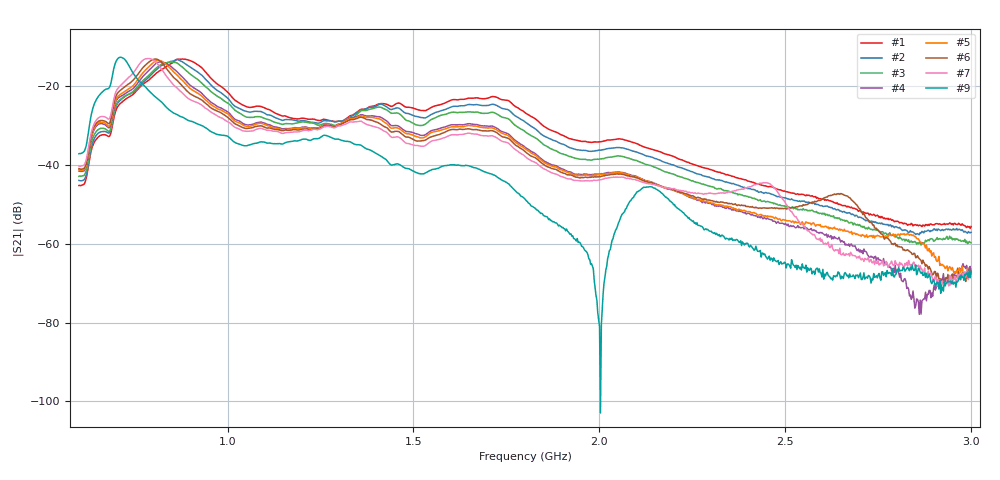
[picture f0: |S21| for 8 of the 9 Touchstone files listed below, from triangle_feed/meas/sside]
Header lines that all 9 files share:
#  HZ  S  RI  R  50.00
! Rohde & Schwarz ZVB8 2Ports - Version 2.81 - 1145.1010k08 SN: 100113
! Measurements: S11 S21 S12 S22
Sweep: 600 MHz to 3 GHz
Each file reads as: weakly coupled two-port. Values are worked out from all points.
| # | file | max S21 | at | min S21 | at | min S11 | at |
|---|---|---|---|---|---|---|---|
| 1 | triag_f_1_0_0.s2p | -13.13 dB | 878.7 MHz | -56.1 dB | 2.998 GHz | -9.8 dB | 741.7 MHz |
| 2 | triag_f_5_0_0.s2p | -13.24 dB | 864.3 MHz | -57.7 dB | 2.861 GHz | -10.2 dB | 688.9 MHz |
| 3 | triag_f_9_0_0.s2p | -13.90 dB | 845 MHz | -60.3 dB | 2.865 GHz | -10.9 dB | 688.9 MHz |
| 4 | triag_f_f_0_0.s2p | -13.84 dB | 821 MHz | -77.9 dB | 2.861 GHz | -9.2 dB | 686.5 MHz |
| 5 | triag_f_f_2_0.s2p | -13.45 dB | 813.8 MHz | -67.8 dB | 2.986 GHz | -9.2 dB | 686.5 MHz |
| 6 | triag_f_f_6_0.s2p | -13.12 dB | 806.6 MHz | -70.3 dB | 2.94 GHz | -9.1 dB | 686.5 MHz |
| 7 | triag_f_f_a_0.s2p | -12.99 dB | 787.4 MHz | -71.6 dB | 2.914 GHz | -9.2 dB | 686.5 MHz |
| 8 | triag_f_f_f_5.s2p | -12.89 dB | 744.1 MHz | -85.6 dB | 2.303 GHz | -9.2 dB | 681.7 MHz |
| 9 | triag_f_f_f_f.s2p | -12.67 dB | 712.9 MHz | -103.0 dB | 2.003 GHz | -9.4 dB | 686.5 MHz |
